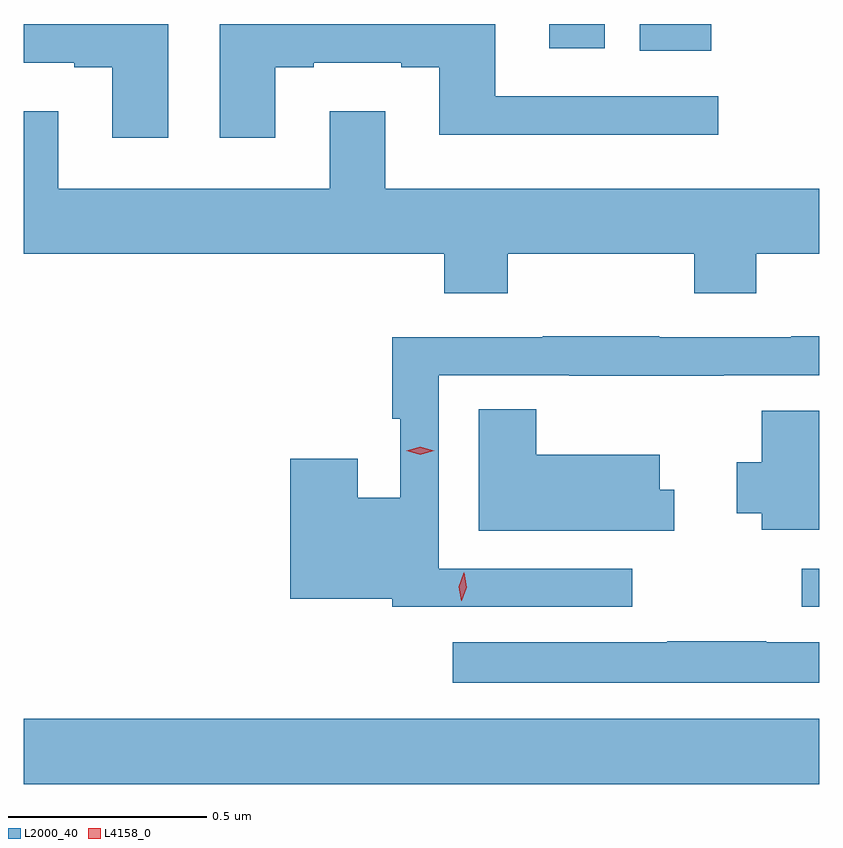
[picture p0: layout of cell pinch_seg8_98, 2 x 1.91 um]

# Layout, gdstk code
import gdstk
lib = gdstk.Library(unit=1e-6, precision=1e-09)
def R(c, l, rs):  # rectangles x0, y0, x1, y1
    for r in rs: c.add(gdstk.rectangle(r[:2], r[2:], *l))
def P(c, l, *ps):  # polygons
    for p in ps: c.add(gdstk.Polygon(p, *l))
L2000_40 = (2000, 40)
L4158_0 = (4158, 0)

pinch_seg8_98 = lib.new_cell('pinch_seg8_98')
R(pinch_seg8_98, L2000_40, [(1064.428,1112.504,1066.428,1112.668), (1066.383,1112.949,1066.428,1113.045), (1065.977,1114.347,1066.156,1114.414), (1065.749,1114.353,1065.889,1114.414)])
P(pinch_seg8_98, L2000_40, [(1064.791,1114.414),(1064.428,1114.414),(1064.428,1114.317),(1064.555,1114.317),(1064.555,1114.305),(1064.651,1114.305),(1064.651,1114.128),(1064.791,1114.128)],
  [(1065.061,1114.305),(1065.157,1114.305),(1065.157,1114.317),(1065.377,1114.317),(1065.377,1114.305),(1065.473,1114.305),(1065.473,1114.136),(1066.174,1114.136),(1066.174,1114.233),(1065.613,1114.233),(1065.613,1114.414),(1064.921,1114.414),(1064.921,1114.128),(1065.061,1114.128)],
  [(1065.645,1113.836),(1066.114,1113.836),(1066.114,1113.737),(1066.269,1113.737),(1066.269,1113.836),(1066.428,1113.836),(1066.428,1114),(1065.337,1114),(1065.337,1114.195),(1065.197,1114.195),(1065.197,1114),(1064.515,1114),(1064.515,1114.195),(1064.428,1114.195),(1064.428,1113.836),(1065.485,1113.836),(1065.485,1113.737),(1065.645,1113.737)],
  [(1065.958,1113.045),(1065.471,1113.045),(1065.471,1113.531),(1065.799,1113.531),(1065.799,1113.53),(1066.187,1113.53),(1066.187,1113.531),(1066.428,1113.531),(1066.428,1113.629),(1066.357,1113.629),(1066.357,1113.627),(1066.025,1113.627),(1066.025,1113.629),(1065.733,1113.629),(1065.733,1113.627),(1065.355,1113.627),(1065.355,1113.422),(1065.375,1113.422),(1065.375,1113.223),(1065.268,1113.223),(1065.268,1113.322),(1065.098,1113.322),(1065.098,1112.969),(1065.354,1112.969),(1065.354,1112.949),(1065.958,1112.949)],
  [(1066.063,1113.244),(1066.027,1113.244),(1066.027,1113.331),(1065.716,1113.331),(1065.716,1113.446),(1065.572,1113.446),(1065.572,1113.14),(1066.063,1113.14)],
  [(1066.428,1113.442),(1066.283,1113.442),(1066.283,1113.313),(1066.22,1113.313),(1066.22,1113.184),(1066.283,1113.184),(1066.283,1113.143),(1066.428,1113.143)],
  [(1066.428,1112.86),(1066.295,1112.86),(1066.295,1112.863),(1066.045,1112.863),(1066.045,1112.86),(1065.507,1112.86),(1065.507,1112.759),(1066.428,1112.759)])
P(pinch_seg8_98, L4158_0, [(1065.528,1112.964),(1065.522,1113),(1065.534,1113.035),(1065.534,1113.035),(1065.535,1113.035),(1065.542,1112.999),(1065.529,1112.964),(1065.529,1112.964)],
  [(1065.425,1113.332),(1065.39,1113.342),(1065.39,1113.342),(1065.39,1113.342),(1065.425,1113.352),(1065.46,1113.342),(1065.46,1113.342),(1065.46,1113.342)])

lib.write_gds('pinch_seg8_98.gds')
